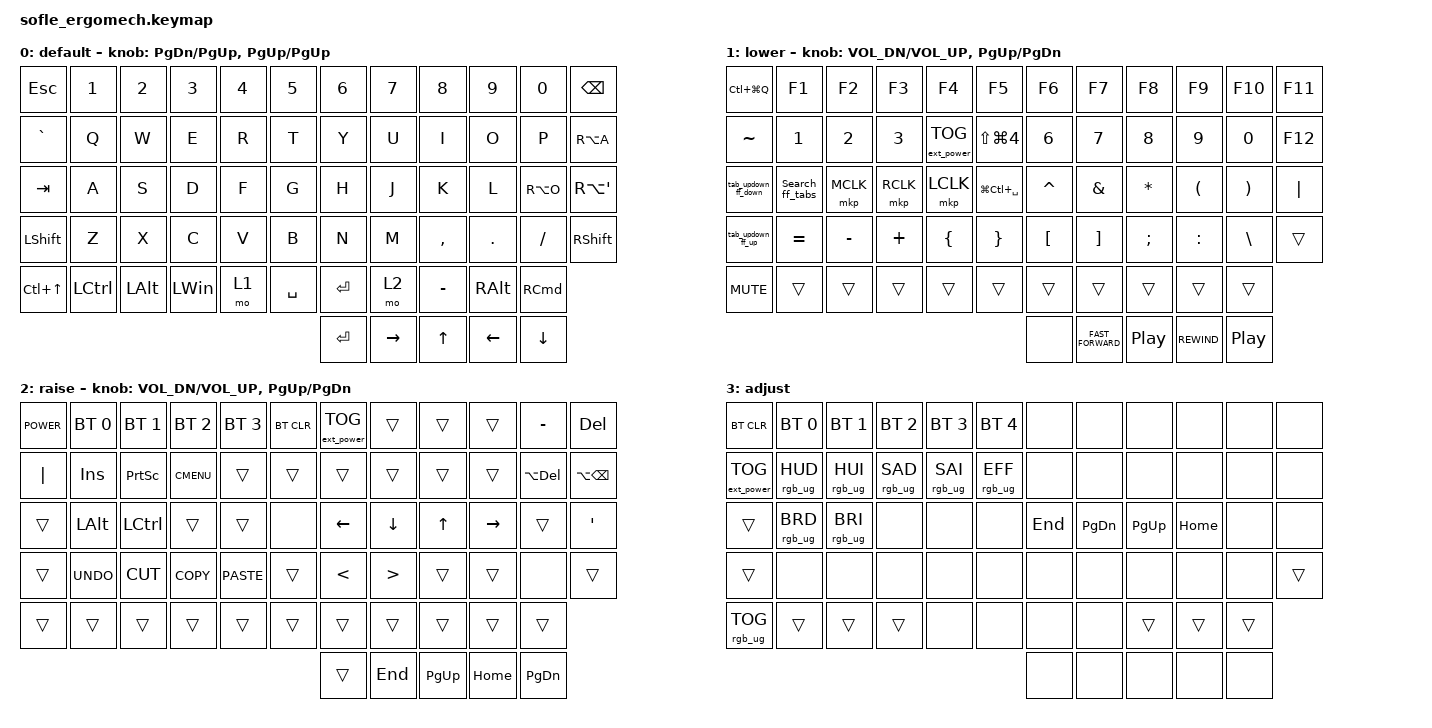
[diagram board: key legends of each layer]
/*
 * Copyright (c) 2020 The ZMK Contributors
 *
 * SPDX-License-Identifier: MIT
 */

#include <behaviors.dtsi>
#include <dt-bindings/zmk/bt.h>
#include <dt-bindings/zmk/ext_power.h>
#include <dt-bindings/zmk/keys.h>
#include <dt-bindings/zmk/pointing.h>
#include <dt-bindings/zmk/rgb.h>

#define BASE 0
#define LOWER 1
#define RAISE 2
#define ADJUST 3

/ {
    // Activate ADJUST layer by pressing raise and lower

    conditional_layers {
        compatible = "zmk,conditional-layers";

        adjust_layer {
            if-layers = <1 2>;
            then-layer = <3>;
        };
    };

    macros {
        Search_ff_tabs: Search_ff_tabs {
            compatible = "zmk,behavior-macro";
            #binding-cells = <0>;
            bindings = <&kp LG(L) &kp PERCENT &kp SPACE>;
            label = "SEARCH_FF_TABS";
        };

        tab_updown_ff_down: tab_updown_ff {
            compatible = "zmk,behavior-macro";
            #binding-cells = <0>;
            bindings
                = <&macro_press &kp LSHFT &kp LALT &kp DOWN>
                , <&macro_pause_for_release>
                , <&macro_release &kp DOWN &kp LALT &kp LSHFT>
                ;
            label = "TAB_UPDOWN_FF";
        };

        tab_updown_ff_up: tab_updown_ff_up {
            compatible = "zmk,behavior-macro";
            #binding-cells = <0>;
            bindings
                = <&macro_press &kp LSHFT &kp LALT &kp UP>
                , <&macro_pause_for_release>
                , <&macro_release &kp UP &kp LALT &kp LSHFT>
                ;
            label = "TAB_UPDOWN_FF_UP";
        };
    };

    combos {
        compatible = "zmk,combos";

        MiddleMouseClick {
            bindings = <&mkp MCLK>;
            key-positions = <27 28>;
            layers = <1>;
        };
    };

    keymap {
        compatible = "zmk,keymap";

        default_layer {
            label = "default";

            // ------------------------------------------------------------------------------------------------------------
            // |   `   |  1  |  2  |  3   |  4   |  5   |                   |  6   |  7    |  8    |  9   |   0   |       |
            // |  ESC  |  Q  |  W  |  E   |  R   |  T   |                   |  Y   |  U    |  I    |  O   |   P   | BKSPC |
            // |  TAB  |  A  |  S  |  D   |  F   |  G   |                   |  H   |  J    |  K    |  L   |   ;   |   '   |
            // | SHIFT |  Z  |  X  |  C   |  V   |  B   |  MUTE  |  |       |  N   |  M    |  ,    |  .   |   /   | SHIFT |
            //               | GUI | ALT  | CTRL | LOWER|  ENTER |  | SPACE | RAISE| CTRL  | ALT   | GUI  |

            bindings = <
&kp ESC           &kp N1     &kp N2    &kp N3        &kp N4  &kp N5     &kp N6     &kp N7     &kp N8        &kp N9    &kp N0     &kp BACKSPACE
&kp GRAVE         &kp Q      &kp W     &kp E         &kp R   &kp T      &kp Y      &kp U      &kp I         &kp O     &kp P      &kp RA(A)
&kp TAB           &kp A      &kp S     &kp D         &kp F   &kp G      &kp H      &kp J      &kp K         &kp L     &kp RA(O)  &kp RA(SQT)
&kp LSHFT         &kp Z      &kp X     &kp C         &kp V   &kp B      &kp N      &kp M      &kp COMMA     &kp DOT   &kp FSLH   &kp RSHFT
&kp LC(UP_ARROW)  &kp LCTRL  &kp LALT  &kp LEFT_WIN  &mo 1   &kp SPACE  &kp ENTER  &mo 2      &kp MINUS     &kp RALT  &kp RCMD
                                                                        &kp ENTER  &kp RIGHT  &kp UP_ARROW  &kp LEFT  &kp DOWN
            >;

            sensor-bindings =
                <&inc_dec_kp PG_DN PG_UP>,
                <&inc_dec_kp PG_UP PG_UP>;
        };

        lower_layer {
            label = "lower";

            // TODO: Some binds are waiting for shifted keycode support.
            // ------------------------------------------------------------------------------------------------------------
            // |       |  F1 |  F2 |  F3  |  F4  |  F5  |                   |  F6  |  F7   |  F8   |  F9  |  F10  |  F11  |
            // |   `   |  1  |  2  |  3   |  4   |  5   |                   |  6   |  7    |  8    |  9   |   0   |  F12  |
            // |       |  !  |  @  |  #   |  $   |  %   |                   |  ^   |  &    |  *    |  (   |   )   |   |   |
            // |       |  =  |  -  |  +   |  {   |  }   |        |  |       |  [   |  ]    |  ;    |  :   |   \   |       |
            //               |     |      |      |      |        |  |       |      |       |       |      |

            bindings = <
&kp LC(LG(Q))        &kp F1           &kp F2     &kp F3     &kp F4             &kp F5                &kp F6     &kp F7              &kp F8            &kp F9        &kp F10           &kp F11
&kp TILDE            &kp N1           &kp N2     &kp N3     &ext_power EP_TOG  &kp LS(LG(NUMBER_4))  &kp N6     &kp N7              &kp N8            &kp N9        &kp N0            &kp F12
&tab_updown_ff_down  &Search_ff_tabs  &mkp MCLK  &mkp RCLK  &mkp LCLK          &kp LG(LC(SPACE))     &kp CARET  &kp AMPS            &kp ASTRK         &kp LPAR      &kp RPAR          &kp PIPE
&tab_updown_ff_up    &kp EQUAL        &kp MINUS  &kp PLUS   &kp LBRC           &kp RBRC              &kp LBKT   &kp RBKT            &kp SEMI          &kp COLON     &kp BSLH          &trans
&kp K_MUTE           &trans           &trans     &trans     &trans             &trans                &trans     &trans              &trans            &trans        &trans
                                                                                                     &none      &kp C_FAST_FORWARD  &kp C_PLAY_PAUSE  &kp C_REWIND  &kp C_PLAY_PAUSE
            >;

            sensor-bindings =
                <&inc_dec_kp C_VOL_DN C_VOL_UP>,
                <&inc_dec_kp PG_UP PG_DN>;
        };

        raise_layer {
            label = "raise";

            // ------------------------------------------------------------------------------------------------------------
            // | BTCLR | BT1  | BT2  |  BT3  |  BT4  |  BT5 |                |      |      |       |      |       |       |
            // |       | INS  | PSCR | GUI   |       |      |                | PGUP |      |   ^   |      |       |       |
            // |       | ALT  | CTRL | SHIFT |       | CAPS |                | PGDN |   <- |   v   |  ->  |  DEL  | BKSPC |
            // |       | UNDO | CUT  | COPY  | PASTE |      |      |  |      |      |      |       |      |       |       |
            //                |      |       |       |      |      |  |      |      |      |       |      |

            bindings = <
&kp C_POWER  &bt BT_SEL 0  &bt BT_SEL 1  &bt BT_SEL 2  &bt BT_SEL 3  &bt BT_CLR  &ext_power EP_TOG  &trans            &trans        &trans     &kp MINUS       &kp DELETE
&kp PIPE     &kp INS       &kp PSCRN     &kp K_CMENU   &trans        &trans      &trans             &trans            &trans        &trans     &kp LA(DELETE)  &kp LA(BACKSPACE)
&trans       &kp LALT      &kp LCTRL     &trans        &trans        &none       &kp LEFT           &kp DOWN          &kp UP_ARROW  &kp RIGHT  &trans          &kp SINGLE_QUOTE
&trans       &kp K_UNDO    &kp K_CUT     &kp K_COPY    &kp K_PASTE   &trans      &kp LESS_THAN      &kp GREATER_THAN  &trans        &trans     &none           &trans
&trans       &trans        &trans        &trans        &trans        &trans      &trans             &trans            &trans        &trans     &trans
                                                                                 &trans             &kp END           &kp PAGE_UP   &kp HOME   &kp PAGE_DOWN
            >;

            sensor-bindings =
                <&inc_dec_kp C_VOL_DN C_VOL_UP>,
                <&inc_dec_kp PG_UP PG_DN>;
        };

        adjust_layer {
            // ----------------------------------------------------------------------------------------------------------------------------
            // | BTCLR  |  BT1    |  BT2    |   BT3   |   BT4   |   BT5   |                  |      |      |       |      |       |       |
            // | EXTPWR | RGB_HUD | RGB_HUI | RGB_SAD | RGB_SAI | RGB_EFF |                  |      |      |       |      |       |       |
            // |        | RGB_BRD | RGB_BRI |         |         |         |                  |      |      |       |      |       |       |
            // |        |         |         |         |         |         | RGB_TOG | |      |      |      |       |      |       |       |
            //                    |         |         |         |         |         | |      |      |      |       |      |

            label = "adjust";
            bindings = <
&bt BT_CLR         &bt BT_SEL 0     &bt BT_SEL 1     &bt BT_SEL 2     &bt BT_SEL 3     &bt BT_SEL 4     &none    &none      &none      &none     &none   &none
&ext_power EP_TOG  &rgb_ug RGB_HUD  &rgb_ug RGB_HUI  &rgb_ug RGB_SAD  &rgb_ug RGB_SAI  &rgb_ug RGB_EFF  &none    &none      &none      &none     &none   &none
&trans             &rgb_ug RGB_BRD  &rgb_ug RGB_BRI  &none            &none            &none            &kp END  &kp PG_DN  &kp PG_UP  &kp HOME  &none   &none
&trans             &none            &none            &none            &none            &none            &none    &none      &none      &none     &none   &trans
&rgb_ug RGB_TOG    &trans           &trans           &trans           &none            &none            &none    &none      &trans     &trans    &trans
                                                                                                        &none    &none      &none      &none     &none
            >;
        };
    };
};
